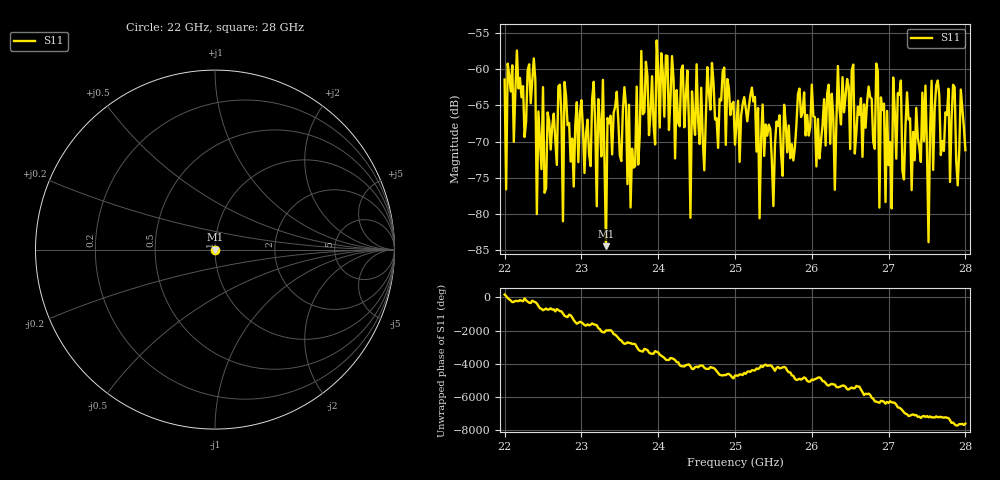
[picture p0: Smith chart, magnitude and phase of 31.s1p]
#  HZ  S  RI  R  50.00
! Rohde & Schwarz ZVA40 4Ports - Version 3.90 - 1145.1110k42 SN: 100403
! Date: 2023-10-04 08:01:35
! Measurement: S12
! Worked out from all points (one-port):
!   301 points, 22 GHz to 28 GHz, reference 50 ohm
!   lowest |S11| = -84.5 dB at 23.32 GHz (marker M1), VSWR 1.00, Z = 50 + j0.000165 ohm
!   |S11| at or under -10 dB: start of sweep to end of sweep
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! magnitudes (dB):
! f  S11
! 22 GHz  -61.4
! 22.02 GHz  -76.6
! 22.04 GHz  -59.2
! 22.38 GHz  -58.5
! 22.42 GHz  -80.1
! 22.44 GHz  -65.8
! 22.52 GHz  -77.1
! 22.72 GHz  -62.1
! 22.76 GHz  -81.1
! 22.78 GHz  -61.7
! 22.9 GHz  -76.2
! 23.16 GHz  -61.7
! 23.2 GHz  -79.0
! 23.28 GHz  -61.4
! 23.32 GHz  -84.5
! 23.34 GHz  -66.7
! 23.5 GHz  -71.9
! 23.62 GHz  -64.9
! 23.64 GHz  -79.1
! 23.78 GHz  -57.4
! 23.96 GHz  -70.4
! 23.98 GHz  -56.0
! 24.26 GHz  -67.4
! 25 GHz  -70.4
! 25.76 GHz  -72.6
! 26.5 GHz  -71.0
! 27.26 GHz  -66.9
! 28 GHz  -71.2
